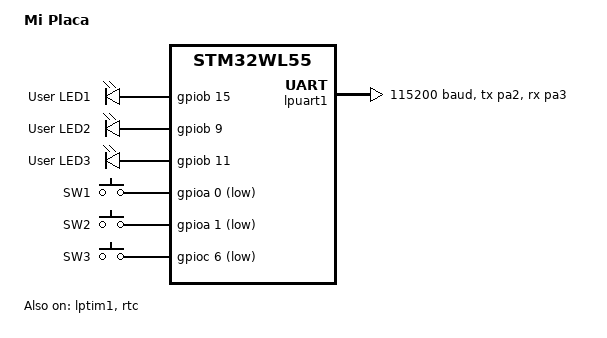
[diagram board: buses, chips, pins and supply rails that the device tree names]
/dts-v1/;

#include <st/wl/stm32wl55Xc.dtsi>
#include <st/wl/stm32wl55jcix-pinctrl.dtsi>
#include <../../../deps/zephyr/boards/st/nucleo_wl55jc/arduino_r3_connector.dtsi>
#include <../../../deps/zephyr/boards/st/nucleo_wl55jc/st_morpho_connector.dtsi>
#include <zephyr/dt-bindings/input/input-event-codes.h>

/ {
        model = "Mi Placa";
        compatible = "st,stm32wl55-nucleo";

        chosen {
                zephyr,console = &lpuart1;
                zephyr,shell-uart = &lpuart1;
                zephyr,sram = &sram0;
                zephyr,flash = &flash0;
                zephyr,code-partition = &slot0_partition;
        };

        leds: leds {
                compatible = "gpio-leds";

                blue_led_1: led_0 {
                        gpios = <&gpiob 15 GPIO_ACTIVE_HIGH>;
                        label = "User LED1";
                };

                green_led_2: led_1 {
                        gpios = <&gpiob 9 GPIO_ACTIVE_HIGH>;
                        label = "User LED2";
                };

                green_led_3: led_2 {
                        gpios = <&gpiob 11 GPIO_ACTIVE_HIGH>;
                        label = "User LED3";
                };
        };

        gpio_keys {
                compatible = "gpio-keys";

                user_button_1: button_0 {
                        label = "SW1";
                        gpios = <&gpioa 0 (GPIO_ACTIVE_LOW | GPIO_PULL_UP)>;
                        zephyr,code = <INPUT_KEY_0>;
                };

                user_button_2: button_1 {
                        label = "SW2";
                        gpios = <&gpioa 1 (GPIO_ACTIVE_LOW | GPIO_PULL_UP)>;
                        zephyr,code = <INPUT_KEY_1>;
                };

                user_button_3: button_2 {
                        label = "SW3";
                        gpios = <&gpioc 6 (GPIO_ACTIVE_LOW | GPIO_PULL_UP)>;
                        zephyr,code = <INPUT_KEY_2>;
                };
        };

        aliases {
                led0 = &green_led_2;
                sw0 = &user_button_1;
                sw1 = &user_button_2;
                sw2 = &user_button_3;
        };
};

&clk_lsi {
        status = "okay";
};

stm32_lp_tick_source: &lptim1 {
        clocks = <&rcc STM32_CLOCK_BUS_APB1 0x80000000>,
                 <&rcc STM32_SRC_LSI LPTIM1_SEL(1)>;
        status = "okay";
};

&clk_hsi {
        status = "okay";
};

&clk_lse {
        status = "okay";
};

&pll {
        div-m = <1>;
        mul-n = <6>;
        div-r = <2>;
        div-q = <2>;
        clocks = <&clk_hsi>;
        status = "okay";
};

&rcc {
        clocks = <&pll>;
        clock-frequency = <DT_FREQ_M(48)>;
        cpu1-prescaler = <1>;
        cpu2-prescaler = <1>;
        ahb3-prescaler = <1>;
        apb1-prescaler = <1>;
        apb2-prescaler = <1>;
};

&lpuart1 {
        pinctrl-0 = <&lpuart1_tx_pa2 &lpuart1_rx_pa3>;
        pinctrl-names = "default";
        current-speed = <115200>;
        status = "okay";
};

&flash0 {
        partitions {
                compatible = "fixed-partitions";
                #address-cells = <1>;
                #size-cells = <1>;

                boot_partition: partition@0 {
                        label = "mcuboot";
                        reg = <0x00000000 DT_SIZE_K(32)>;
                        read-only;
                };

                slot0_partition: partition@8000 {
                        label = "image-0";
                        reg = <0x00008000 DT_SIZE_K(104)>;
                };

                slot1_partition: partition@22000 {
                        label = "image-1";
                        reg = <0x00022000 DT_SIZE_K(104)>;
                };

                /*
                 * Set 16kB of storage (8x2kB pages) at the end of the 256kB of
                 * flash.
                 */
                storage_partition: partition@3c000 {
                        label = "storage";
                        reg = <0x0003c000 DT_SIZE_K(16)>;
                };
        };
};

&rtc {
        clocks = <&rcc STM32_CLOCK_BUS_APB1 0x00000400>,
                 <&rcc STM32_SRC_LSE RTC_SEL(1)>;
        status = "okay";
};

